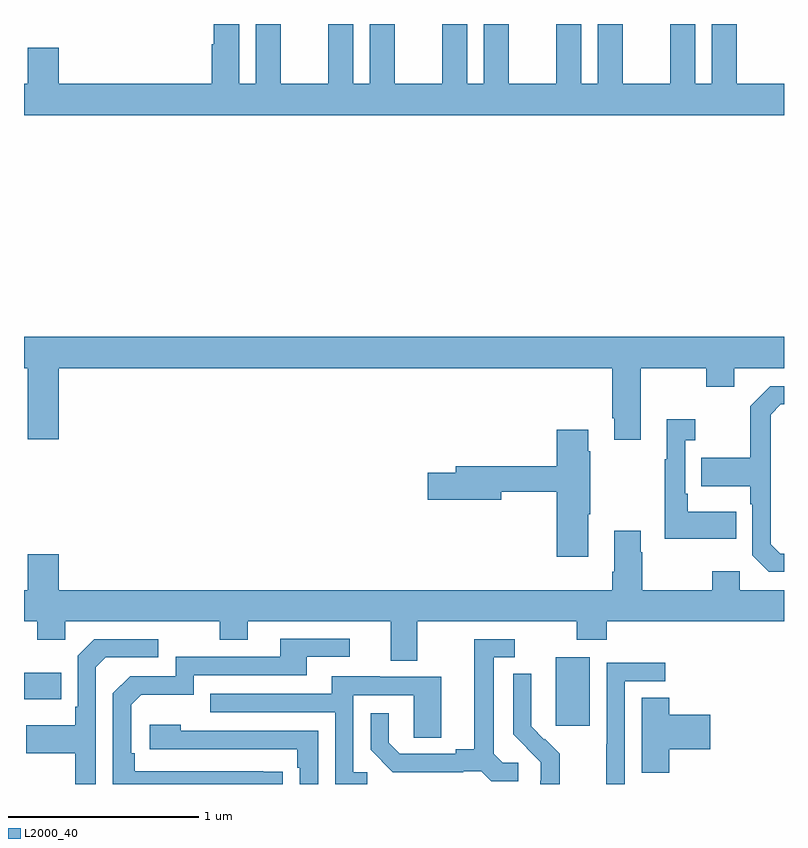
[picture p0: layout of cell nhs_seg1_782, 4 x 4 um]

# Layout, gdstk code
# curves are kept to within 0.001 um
import gdstk
lib = gdstk.Library(unit=1e-6, precision=1e-09)
def R(c, l, rs):  # rectangles x0, y0, x1, y1
    for r in rs: c.add(gdstk.rectangle(r[:2], r[2:], *l))
def P(c, l, *ps):  # polygons
    for p in ps: c.add(gdstk.Polygon(p, *l))
L2000_40 = (2000, 40)

nhs_seg1_782 = lib.new_cell('nhs_seg1_782')
R(nhs_seg1_782, L2000_40, [(155.798,560.505,155.977,560.866), (153,560.645,153.197,560.785)])
P(nhs_seg1_782, L2000_40, [(157,563.884),(156.751,563.884),(156.751,564.092),(156.75,564.092),(156.75,564.199),(156.62,564.199),(156.62,563.884),(156.532,563.884),(156.532,564.199),(156.402,564.199),(156.402,564.092),(156.401,564.092),(156.401,563.884),(156.151,563.884),(156.151,564.092),(156.15,564.092),(156.15,564.199),(156.02,564.199),(156.02,563.884),(155.932,563.884),(155.932,564.199),(155.802,564.199),(155.802,564.092),(155.801,564.092),(155.801,563.884),(155.551,563.884),(155.551,564.092),(155.55,564.092),(155.55,564.199),(155.42,564.199),(155.42,563.884),(155.332,563.884),(155.332,564.199),(155.202,564.199),(155.202,564.092),(155.201,564.092),(155.201,563.884),(154.951,563.884),(154.951,564.092),(154.95,564.092),(154.95,564.199),(154.82,564.199),(154.82,563.884),(154.732,563.884),(154.732,564.199),(154.602,564.199),(154.602,564.092),(154.601,564.092),(154.601,563.884),(154.351,563.884),(154.351,564.092),(154.35,564.092),(154.35,564.199),(154.22,564.199),(154.22,563.884),(154.132,563.884),(154.132,564.199),(153.998,564.199),(153.998,564.092),(153.989,564.092),(153.989,563.884),(153.184,563.884),(153.184,564.073),(153.02,564.073),(153.02,563.884),(153,563.884),(153,563.72),(157,563.72)],
  [(156.247,562.388),(156.592,562.388),(156.592,562.289),(156.739,562.289),(156.739,562.388),(157,562.388),(157,562.552),(153,562.552),(153,562.388),(153.02,562.388),(153.02,562.014),(153.184,562.014),(153.184,562.388),(156.095,562.388),(156.095,562.123),(156.107,562.123),(156.107,562.011),(156.247,562.011)],
  [(157,561.411),(156.981,561.411),(156.93,561.462),(156.93,562.143),(156.984,562.197),(157,562.197),(157,562.293),(156.927,562.293),(156.822,562.187),(156.822,561.915),(156.565,561.915),(156.565,561.767),(156.822,561.767),(156.822,561.671),(156.834,561.671),(156.834,561.402),(156.921,561.315),(157,561.315)],
  [(156.749,561.631),(156.493,561.631),(156.493,561.727),(156.48,561.727),(156.48,562.007),(156.532,562.007),(156.532,562.12),(156.383,562.12),(156.383,561.907),(156.372,561.907),(156.372,561.491),(156.749,561.491)],
  [(155.971,561.619),(155.979,561.619),(155.979,561.95),(155.971,561.95),(155.971,562.063),(155.804,562.063),(155.804,561.872),(155.273,561.872),(155.273,561.836),(155.124,561.836),(155.124,561.694),(155.512,561.694),(155.512,561.736),(155.804,561.736),(155.804,561.396),(155.971,561.396)],
  [(155.071,561.056),(155.908,561.056),(155.908,560.957),(156.068,560.957),(156.068,561.056),(157,561.056),(157,561.22),(156.768,561.22),(156.768,561.319),(156.622,561.319),(156.622,561.22),(156.255,561.22),(156.255,561.419),(156.247,561.419),(156.247,561.532),(156.107,561.532),(156.107,561.316),(156.095,561.316),(156.095,561.22),(153.184,561.22),(153.184,561.409),(153.02,561.409),(153.02,561.22),(153,561.22),(153,561.056),(153.07,561.056),(153.07,560.957),(153.216,560.957),(153.216,561.056),(154.03,561.056),(154.03,560.957),(154.177,560.957),(154.177,561.056),(154.931,561.056),(154.931,560.848),(155.071,560.848)],
  [(154.361,560.264),(153.584,560.265),(153.584,560.362),(153.564,560.362),(153.564,560.616),(153.617,560.669),(153.894,560.669),(153.894,560.772),(154.489,560.772),(154.489,560.868),(154.714,560.868),(154.714,560.964),(154.349,560.964),(154.349,560.868),(153.798,560.868),(153.798,560.766),(153.558,560.766),(153.468,560.676),(153.468,560.199),(154.361,560.199)],
  [(155.602,560.31),(155.52,560.31),(155.473,560.357),(155.473,560.865),(155.584,560.865),(155.584,560.961),(155.369,560.961),(155.369,560.381),(155.273,560.381),(155.273,560.358),(154.978,560.358),(154.921,560.415),(154.921,560.572),(154.824,560.572),(154.824,560.378),(154.94,560.262),(155.312,560.262),(155.312,560.265),(155.406,560.265),(155.458,560.213),(155.602,560.213)],
  [(153.378,560.814),(153.429,560.865),(153.706,560.865),(153.706,560.961),(153.369,560.961),(153.282,560.874),(153.282,560.605),(153.27,560.605),(153.27,560.509),(153.013,560.509),(153.013,560.362),(153.27,560.362),(153.27,560.199),(153.378,560.199)],
  [(156.162,560.739),(156.376,560.739),(156.376,560.838),(156.066,560.838),(156.066,560.408),(156.064,560.408),(156.064,560.199),(156.162,560.199)],
  [(155.819,560.359),(155.742,560.436),(155.739,560.433),(155.669,560.504),(155.67,560.78),(155.574,560.78),(155.574,560.462),(155.72,560.314),(155.72,560.217),(155.718,560.217),(155.718,560.199),(155.819,560.199)],
  [(154.807,560.262),(154.734,560.262),(154.734,560.667),(155.052,560.667),(155.052,560.443),(155.197,560.443),(155.197,560.763),(154.873,560.763),(154.873,560.767),(154.619,560.767),(154.619,560.673),(153.979,560.673),(153.979,560.577),(154.638,560.577),(154.638,560.199),(154.807,560.199)],
  [(156.395,560.381),(156.613,560.381),(156.613,560.564),(156.395,560.564),(156.395,560.654),(156.251,560.654),(156.251,560.257),(156.395,560.257)],
  [(154.548,560.478),(153.824,560.478),(153.824,560.512),(153.663,560.512),(153.663,560.382),(154.439,560.382),(154.439,560.285),(154.452,560.285),(154.452,560.199),(154.548,560.199)])

lib.write_gds('nhs_seg1_782.gds')
